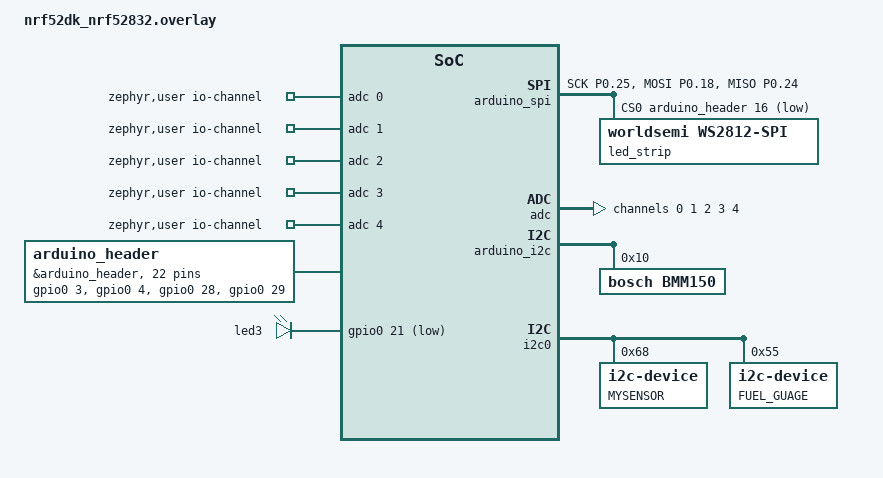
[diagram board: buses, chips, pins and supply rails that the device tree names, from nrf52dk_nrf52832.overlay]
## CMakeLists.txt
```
cmake_minimum_required(VERSION 3.20.0)
find_package(Zephyr REQUIRED HINTS $ENV{ZEPHYR_BASE})

project(raafat-service-t1)

target_sources(app PRIVATE src/main.c)

zephyr_include_directories(src)


# External Modules
add_subdirectory(src/raafat-service)
add_subdirectory(src/raafat-json)
add_subdirectory(src/raafat-data)
add_subdirectory(src/raafat-adc)
add_subdirectory(src/raafat-bmm150)
add_subdirectory(src/raafat-rgb)
add_subdirectory(src/bmi323)
add_subdirectory(src/cJSON)
add_subdirectory(src/bq27426)
```

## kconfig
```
#
# Copyright (c) 2018 Nordic Semiconductor
#
# SPDX-License-Identifier: LicenseRef-Nordic-5-Clause
#

source "Kconfig.zephyr"

menu "Raafat Analog Service"

config BT_RAAFAT_LOG_LEVEL

	int "Raafat Log level"
	default 4
	help
	  set log level for raafat's logs

config BT_RAAFAT_POLL_ANALOG
	bool "Enable Poll Analog"
	default y
	help
	  Allows user to fetch data from BLE Device


config BT_RAAFAT_SECURITY_ENABLED
	bool "Enable Security for BLE Service"
	default y
	help
	  Enable security for better pairing and authentication

config BT_RAAFAT_ENABLE_GYRO_PACKET
	bool "Enable gyroscope data packet in BLE"
	default y
	help
	  Enable the packet to be available in JSON

config BT_RAAFAT_ENABLE_ACCEL_PACKET
	bool "Enable Accelerometer data packet in BLE"
	default y
	help
		Enable the packet to be available in JSON

config BT_RAAFAT_ENABLE_MAGN_PACKET
	bool "Enable Mangetometer data packet in BLE"
	default y
	help
		Enable the packet to be available in JSON

config BT_RAAFAT_ENABLE_NOTIFY
	bool "Enable auto Notifification"
	default y
	help
	  Enables notification in a given interval

config RAAFAT_SERVICE_UPDATE_INTERVAL_SEC
	int "Time duration in seconds"
	default 1
	help
	  Defines Notfication interval in seconds
endmenu
```

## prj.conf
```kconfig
#
# Copyright (c) 2018 Nordic Semiconductor
#
# SPDX-License-Identifier: LicenseRef-Nordic-5-Clause
#

CONFIG_BT=y
CONFIG_BT_PERIPHERAL=y
CONFIG_BT_DEVICE_NAME="Raafat_BLE"
CONFIG_BT_SMP=y

# Enable the LBS service
# CONFIG_BT_LBS=y
# CONFIG_BT_RAAFAT_POLL_ANALOG=y
# CONFIG_DK_LIBRARY=y
CONFIG_SYSTEM_WORKQUEUE_STACK_SIZE=2048

#logging
CONFIG_LOG=y
CONFIG_USE_SEGGER_RTT=y
CONFIG_RTT_CONSOLE=y
CONFIG_LOG_MODE_MINIMAL=n
CONFIG_LOG_BACKEND_RTT=y
CONFIG_PRINTK=y

#clock configurations
CONFIG_CLOCK_CONTROL_NRF_K32SRC_RC=y
CONFIG_CLOCK_CONTROL_NRF_K32SRC_500PPM=y
CONFIG_CLOCK_CONTROL_NRF_K32SRC_RC_CALIBRATION=y
CONFIG_CLOCK_CONTROL_NRF_CALIBRATION_MAX_SKIP=0

CONFIG_GPIO=y

#Raafat BLE Service Configurations
CONFIG_BT_RAAFAT_LOG_LEVEL=4
CONFIG_BT_RAAFAT_POLL_ANALOG=y
CONFIG_BT_RAAFAT_SECURITY_ENABLED=y

#Raafat JSON packet configurations
CONFIG_BT_RAAFAT_ENABLE_ACCEL_PACKET=y
CONFIG_BT_RAAFAT_ENABLE_GYRO_PACKET=y
CONFIG_BT_RAAFAT_ENABLE_MAGN_PACKET=y
CONFIG_BT_RAAFAT_ENABLE_NOTIFY=n
CONFIG_RAAFAT_SERVICE_UPDATE_INTERVAL_SEC=1

#Configure NFC Pins as GPIO
CONFIG_NFCT_PINS_AS_GPIOS=y

#Adc enable
CONFIG_ADC=y

#fixes sprint and log error for float, but does not compile
CONFIG_NEWLIB_LIBC=y
# CONFIG_NEWLIB_LIBC_NANO=n
# CONFIG_NEWLIB_LIBC_SUPPORTED=y
CONFIG_NEWLIB_LIBC_FLOAT_PRINTF=y

CONFIG_BOARD_NRF52DK_NRF52832=y
# CONFIG_BUILD_OUTPUT_UF2=y
# CONFIG_USE_DT_CODE_PARTITION=y
# CONFIG_BUILD_OUTPUT_UF2_FAMILY_ID="0x72721d4e"

CONFIG_BOARD_ENABLE_DCDC=n

#i2c Config and sensor
CONFIG_I2C=y
CONFIG_SENSOR=y


#RGB Config
CONFIG_LOG=y
CONFIG_LOG_BACKEND_RTT=y
CONFIG_PRINTK=y
CONFIG_CLOCK_CONTROL_NRF_K32SRC_RC=y
CONFIG_LED_STRIP=y
CONFIG_LED_STRIP_LOG_LEVEL_DBG=y
CONFIG_WS2812_STRIP=y
CONFIG_SPI=y

CONFIG_NRFX_PPI=y
# This driver only uses spi_write() with the SPIM instance it allocates,
# so PAN 58 doesn't matter, because the RX length is always 0.
CONFIG_SOC_NRF52832_ALLOW_SPIM_DESPITE_PAN_58=y
```

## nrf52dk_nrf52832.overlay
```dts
// To get started, press Ctrl+Space to bring up the completion menu and view the available nodes.

// You can also use the buttons in the sidebar to perform actions on nodes.
// Actions currently available include:

// * Enabling / disabling the node
// * Adding the bus to a bus
// * Removing the node
// * Connecting ADC channels

// For more help, browse the DeviceTree documentation at https://docs.zephyrproject.org/latest/guides/dts/index.html
// You can also visit the nRF DeviceTree extension documentation at https://nrfconnect.github.io/vscode-nrf-connect/devicetree/nrfdevicetree.html
/*
 * SPDX-License-Identifier: Apache-2.0
 *
 * Copyright (c) 2022 Nordic Semiconductor ASA
 */
/*
 * Copyright (c) 2019, Nordic Semiconductor ASA
 *
 * SPDX-License-Identifier: Apache-2.0
 */

 #include <zephyr/dt-bindings/led/led.h>

 #include "nrf52-bindings.h"
 
 &arduino_spi { /* MOSI on D11 / P0.23 */
     compatible = "nordic,nrf-spim";
     status = "okay";
    cs-gpios = <&arduino_header 16 GPIO_ACTIVE_LOW>; /* D10 */
    pinctrl-0 = <&spi2_wsled>;
    pinctrl-names = "default", "sleep";

     led_strip: ws2812@0 {
         compatible = "worldsemi,ws2812-spi";
 
         /* SPI */
         reg = <0>; /* ignored, but necessary for SPI bindings */
         spi-max-frequency = <SPI_FREQ>;
 
         /* WS2812 */
         chain-length = <WS2812_LENGTH>; /* arbitrary; change at will */
         color-mapping = <LED_COLOR_ID_GREEN
                  LED_COLOR_ID_RED
                  LED_COLOR_ID_BLUE>;
         spi-one-frame = <ONE_FRAME>;
         spi-zero-frame = <ZERO_FRAME>;
     };
 };
 
 / {
     aliases {
         led-strip = &led_strip;
     };
 };
 
&arduino_header {
    gpio-map = <0 0 &gpio0 3 0>,
               <1 0 &gpio0 4 0>,
               <2 0 &gpio0 28 0>,
               <3 0 &gpio0 29 0>,
               <4 0 &gpio0 30 0>,
               <5 0 &gpio0 31 0>,
               <6 0 &gpio0 11 0>,
               <7 0 &gpio0 12 0>,
               <8 0 &gpio0 13 0>,
               <9 0 &gpio0 14 0>,
               <10 0 &gpio0 15 0>,
               <11 0 &gpio0 16 0>,
               <12 0 &gpio0 17 0>,
               <13 0 &gpio0 18 0>,
               <14 0 &gpio0 19 0>,
               <15 0 &gpio0 20 0>,
               <16 0 &gpio0 22 0>,
               <17 0 &gpio0 23 0>,
               <18 0 &gpio0 24 0>,
               <19 0 &gpio0 25 0>,
               <20 0 &gpio0 26 0>,
               <21 0 &gpio0 27 0>;
};

&arduino_header {
    gpio-map = <0 0 &gpio0 3 0>,
               <1 0 &gpio0 4 0>,
               <2 0 &gpio0 28 0>,
               <3 0 &gpio0 29 0>,
               <4 0 &gpio0 30 0>,
               <5 0 &gpio0 31 0>,
               <6 0 &gpio0 11 0>,
               <7 0 &gpio0 12 0>,
               <8 0 &gpio0 13 0>,
               <9 0 &gpio0 14 0>,
               <10 0 &gpio0 15 0>,
               <11 0 &gpio0 16 0>,
               <12 0 &gpio0 17 0>,
               <13 0 &gpio0 18 0>,
               <14 0 &gpio0 19 0>,
               <15 0 &gpio0 20 0>,
               <16 0 &gpio0 22 0>,
               <17 0 &gpio0 23 0>,
               <18 0 &gpio0 24 0>,
               <19 0 &gpio0 25 0>,
               <20 0 &gpio0 26 0>,
               <21 0 &gpio0 27 0>;
};

&pinctrl {
    spi2_wsled: spi2_wsled {
        group1 {
            psels = <NRF_PSEL(SPIM_SCK, 0, 25)>,
                <NRF_PSEL(SPIM_MOSI, 0, 18)>,
                <NRF_PSEL(SPIM_MISO, 0, 24)>;
        };
    };
};

 / {
	zephyr,user {
		io-channels = <&adc 0>, <&adc 1>, <&adc 2>, <&adc 3>, <&adc 4>;
	};
};

&adc {
	#address-cells = <1>;
	#size-cells = <0>;

	channel@0 {
		reg = <0>;
		zephyr,gain = "ADC_GAIN_1_6";
		zephyr,reference = "ADC_REF_INTERNAL";
		zephyr,acquisition-time = <ADC_ACQ_TIME_DEFAULT>;
		zephyr,input-positive = <NRF_SAADC_AIN0>; /* P0.02 */
		zephyr,resolution = <12>;
	};

	channel@1 {
		reg = <1>;
		zephyr,gain = "ADC_GAIN_1_6";
		zephyr,reference = "ADC_REF_INTERNAL";
		zephyr,acquisition-time = <ADC_ACQ_TIME_DEFAULT>;
		zephyr,input-positive = <NRF_SAADC_AIN1>; /* P0.03 */
		zephyr,resolution = <12>;
	};

    channel@2 {
		reg = <2>;
		zephyr,gain = "ADC_GAIN_1_6";
		zephyr,reference = "ADC_REF_INTERNAL";
		zephyr,acquisition-time = <ADC_ACQ_TIME_DEFAULT>;
		zephyr,input-positive = <NRF_SAADC_AIN2>; /* P0.04 */
		zephyr,resolution = <12>;
	};
	// channel@7 {
	// 	reg = <7>;
	// 	zephyr,gain = "ADC_GAIN_1_5";
	// 	zephyr,reference = "ADC_REF_VDD_1_4";
	// 	zephyr,vref-mv = <750>;
	// 	zephyr,acquisition-time = <ADC_ACQ_TIME_DEFAULT>;
	// 	zephyr,input-positive = <NRF_SAADC_AIN6>; /* P0.30 */
	// 	zephyr,input-negative = <NRF_SAADC_AIN7>; /* P0.31 */
	// 	zephyr,resolution = <12>;
	// };
    channel@3 {
		reg = <3>;
		zephyr,gain = "ADC_GAIN_1_6";
		zephyr,reference = "ADC_REF_INTERNAL";
		zephyr,acquisition-time = <ADC_ACQ_TIME_DEFAULT>;
		zephyr,input-positive = <NRF_SAADC_AIN3>; /* P0.05 */
		zephyr,resolution = <12>;
	};

    channel@4 {
		reg = <4>;
		zephyr,gain = "ADC_GAIN_1_6";
		zephyr,reference = "ADC_REF_INTERNAL";
		zephyr,acquisition-time = <ADC_ACQ_TIME_DEFAULT>;
		zephyr,input-positive = <NRF_SAADC_AIN4>; /* P0.28 */
		zephyr,resolution = <12>;
	};

    // channel@5 {
	// 	reg = <5>;
	// 	zephyr,gain = "ADC_GAIN_1_6";
	// 	zephyr,reference = "ADC_REF_INTERNAL";
	// 	zephyr,acquisition-time = <ADC_ACQ_TIME_DEFAULT>;
	// 	zephyr,input-positive = <NRF_SAADC_AIN5>; /* P0.04 */
	// 	zephyr,resolution = <12>;
	// };
};

&arduino_i2c {
	status = "okay";

	bmm150@10 {
		compatible = "bosch,bmm150";
		reg = <0x10>;
	};
};

&i2c0 {
    mysensor: mysensor@68{
        compatible = "i2c-device";
        reg = < 0x68 >;
        label = "MYSENSOR";
    };
};

&i2c0 {
    fuel_guage: fuel_guage@55{
        compatible = "i2c-device";
        reg = <0x55>;
        label = "FUEL_GUAGE";
    };
};


&led3 {
     gpios = <&gpio0 21 GPIO_ACTIVE_LOW>;
};

&uicr {
    nfct-pins-as-gpios;
};

&i2c0_default {
     group1 {
          psels = <NRF_PSEL(TWIM_SDA, 0, 9)>, <NRF_PSEL(TWIM_SCL, 0, 10)>;
     };
};
```

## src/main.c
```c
#include <zephyr/kernel.h>
#include <zephyr/sys/printk.h>
#include <stdlib.h>

/*GPIO Inlcudes*/
#include <zephyr/drivers/gpio.h>
#include <hal/nrf_gpio.h>

#define LOG_LEVEL 4
#include <zephyr/logging/log.h>
LOG_MODULE_REGISTER(main);

/* raafat includes */
#include "raafat_service.h"
#include "raafat_json.h"
#include "raafat_data.h"
#include "raafat_adc.h"
#include "raafat_bmm150.h"
#include "raafat_rgb.h"
#include "bmi323.h"

#include "bq27426.h"

/*Defines*/
#define RAAFAT_GPIO_CLR_PWR NRF_GPIO_PIN_MAP(0,20)  //CLR POWER

/* Global declarations */
raafat_data_t* raafat_data = NULL;

// #define I2C0_NODE DT_NODELABEL(fuel_guage)
// static const struct i2c_dt_spec dev_i2c = I2C_DT_SPEC_GET(I2C0_NODE);

// Set BATTERY_CAPACITY to the design capacity of your battery.
const unsigned int BATTERY_CAPACITY = 400; // e.g. 850mAh battery

void setupBQ27441(void)
{
  // Use lipo.begin() to initialize the BQ27441-G1A and confirm that it's
  // connected and communicating.
  if (begin()) // begin() will return true if communication is successful
  {
	// If communication fails, print an error message and loop forever.
    printk("Error: Unable to communicate with BQ27441.");
    printk("  Check wiring and try again.");
    printk("  (Battery must be plugged into Battery Babysitter!)");
    while (1) ;
  }
  printk("Connected to BQ27441!");
  
  // Uset lipo.setCapacity(BATTERY_CAPACITY) to set the design capacity
  // of your battery.
  setCapacity(BATTERY_CAPACITY);
}

void readBatteryStats()
{
  // Read battery stats from the BQ27441-G1A
//   unsigned int soc = soc(UNFILTERED); // Read state-of-charge (%)
  raafat_data->voltage_mv  = voltage(); // Read battery voltage (mV)
  raafat_data->current_consumption = bq_current(AVG); // Read average current (mA)
  raafat_data->battery_capacity = capacity(FULL); // Read full capacity (mAh)
//   unsigned int capacity = lcapacity(REMAIN); // Read remaining capacity (mAh)
  raafat_data->power_consumption = bq_power(); // Read average power draw (mW)
  raafat_data->battery_health = soh(PERCENT); // Read state-of-health (%)
  
  printk("\nBattery voltage %d mv, state of health %d, capacitiy %d, avg_current %d, power consumption %d mw\n", raafat_data->voltage_mv, raafat_data->battery_health, raafat_data->battery_capacity, raafat_data->current_consumption, raafat_data->power_consumption);
  if(raafat_data->current_consumption > 0)
  {
    printk("Charging\n");
  }
  else
  {
    printk("Not Charging\n");
  }
}

int main(void)
{
	  printk("Raafat Hello World!\n");


    /* allocate memory for storing raafat data */
    raafat_data = (raafat_data_t*)malloc(sizeof(struct raafat_data_s));

    /* Raafat BLE service initialization*/
    setupBQ27441();
	  raafat_service_init();
    raafat_adc_init();
    raafat_bmm150_init();
	  raafat_rgb_init(raafat_data);
    bmi323_init(raafat_data);

    raafat_data->raafat_json_packet = raafat_service_get_json_packet_ptr();

	for (;;) {
        /* read and update json packet every interval */
        
        printk("====================================\n");
        readBatteryStats();

        raafat_adc_read(raafat_data);
        raafat_bmm150_read(raafat_data);
        bmi323_read_acc();
        bmi323_read_gyro();
        bmi323_read_temp();

        /* Stringify latest data to json string */
        raafat_json_stringify_data(raafat_data);

		    /* send json packet every second after getting new sensor values*/
        raafat_service_send_json_packet();

        /* Delay between each read */  
		k_sleep(K_SECONDS(2));
	}
}
```
